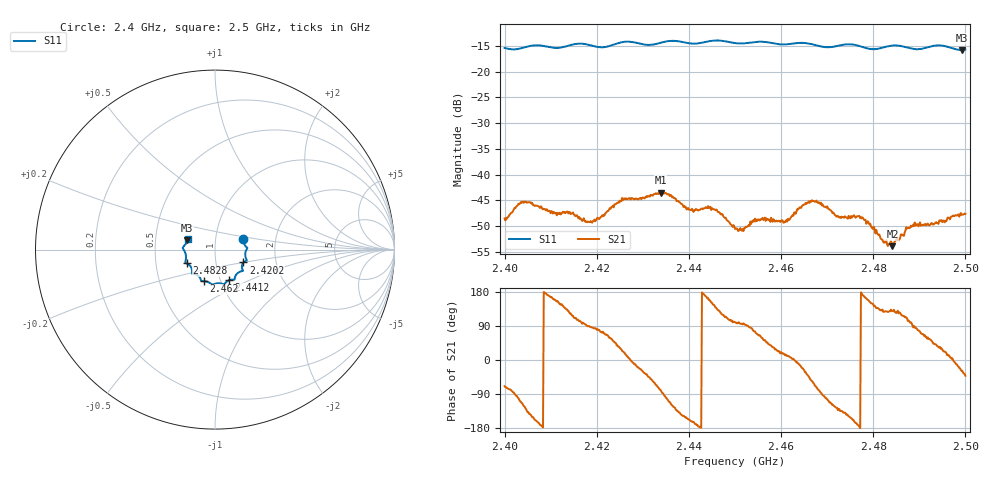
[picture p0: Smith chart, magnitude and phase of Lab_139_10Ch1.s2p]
# Hz S RI R 50
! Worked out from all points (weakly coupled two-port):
!   601 points, 2.4 GHz to 2.5 GHz, reference 50 ohm
!   highest |S21| = -43.49 dB at 2.4338 GHz (marker M1); lowest = -53.9 dB at 2.4842 GHz (marker M2)
!   lowest |S11| = -15.8 dB at 2.4993 GHz (marker M3), VSWR 1.39, Z = 36.5 + j3.9 ohm
!   |S11| at or under -10 dB: start of sweep to end of sweep
!   S12 and S22 are empty: the file has one direction only
!   S11 on the Smith chart (normalised r, x): 2.4 GHz: 1.36, +0.17; 2.4202 GHz: 1.36, -0.20; 2.4412 GHz: 1.09, -0.39; 2.462 GHz: 0.84, -0.30; 2.4828 GHz: 0.72, -0.11; 2.5 GHz: 0.73, +0.09
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2.4e9  0.1582 0.0618  0.00134 -0.0035  0 0  0 0
2.404833e9  0.1741 0.015  -0.00374 -0.00381  0 0  0 0
2.416667e9  0.1769 -0.0605  -0.000596 0.0036  0 0  0 0
2.420167e9  0.1581 -0.0718  0.000579 0.00378  0 0  0 0
2.4255e9  0.1552 -0.1156  0.00542 0.00241  0 0  0 0
2.433333e9  0.1119 -0.151  0.00205 -0.0063  0 0  0 0
2.433833e9  0.1108 -0.1553  0.00128 -0.00657  0 0  0 0
2.441167e9  0.0762 -0.1712  -0.00438 -0.0011  0 0  0 0
2.4455e9  0.051 -0.1939  -0.00375 0.00266  0 0  0 0
2.45e9  0.0277 -0.1877  -0.000504 0.00293  0 0  0 0
2.456e9  -0.0161 -0.1946  0.00206 0.00319  0 0  0 0
2.462e9  -0.0608 -0.1755  0.00372 0.000464  0 0  0 0
2.466667e9  -0.0788 -0.1677  0.00317 -0.00465  0 0  0 0
2.4725e9  -0.1172 -0.1352  -0.00245 -0.00306  0 0  0 0
2.477333e9  -0.127 -0.1212  -0.00387 0.00011  0 0  0 0
2.482833e9  -0.1573 -0.0768  -0.00143 0.00181  0 0  0 0
2.483333e9  -0.1603 -0.0755  -0.00129 0.00168  0 0  0 0
2.484167e9  -0.1638 -0.0733  -0.00129 0.00155  0 0  0 0
2.4885e9  -0.1612 -0.0427  -7.04e-05 0.00315  0 0  0 0
2.494333e9  -0.1798 0.0102  0.00301 0.00195  0 0  0 0
2.499333e9  -0.154 0.0521  0.0036 -0.00195  0 0  0 0
2.5e9  -0.1524 0.0615  0.00311 -0.00275  0 0  0 0
